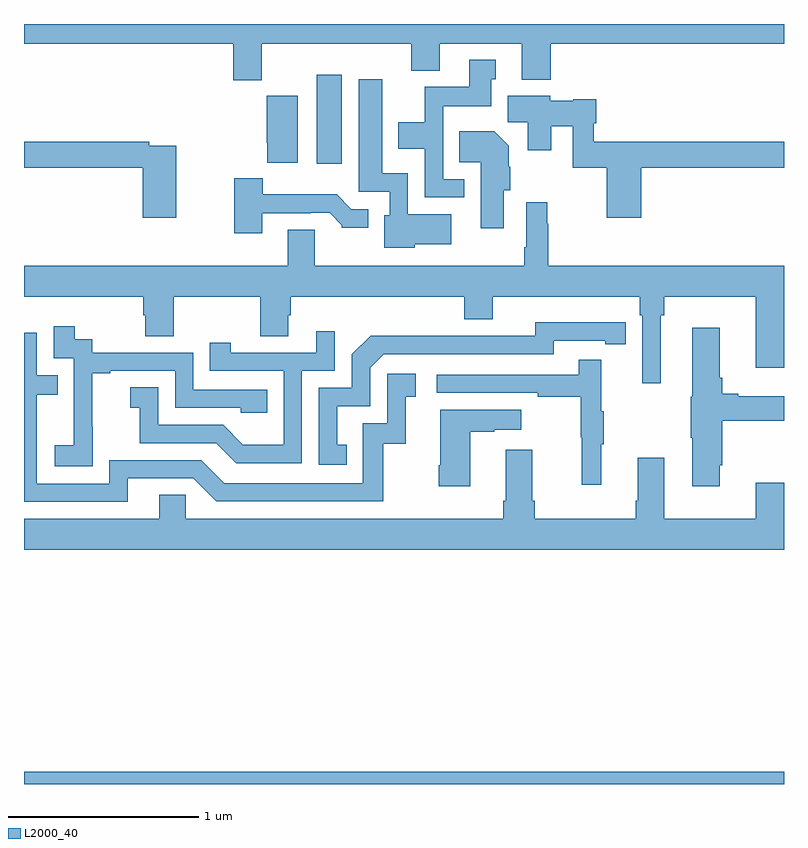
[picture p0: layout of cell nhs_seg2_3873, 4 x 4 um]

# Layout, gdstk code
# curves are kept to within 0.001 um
import gdstk
lib = gdstk.Library(unit=1e-6, precision=1e-09)
def R(c, l, rs):  # rectangles x0, y0, x1, y1
    for r in rs: c.add(gdstk.rectangle(r[:2], r[2:], *l))
def P(c, l, *ps):  # polygons
    for p in ps: c.add(gdstk.Polygon(p, *l))
L2000_40 = (2000, 40)

nhs_seg2_3873 = lib.new_cell('nhs_seg2_3873')
R(nhs_seg2_3873, L2000_40, [(317,583.8,321,583.864), (318.542,587.064,318.673,587.533)])
P(nhs_seg2_3873, L2000_40, [(318.251,587.696),(319.037,587.696),(319.037,587.555),(319.189,587.555),(319.189,587.696),(319.619,587.696),(319.619,587.507),(319.772,587.507),(319.772,587.696),(321,587.696),(321,587.8),(317,587.8),(317,587.696),(318.101,587.696),(318.101,587.504),(318.251,587.504)],
  [(319.318,586.983),(319.206,586.983),(319.206,587.366),(319.459,587.366),(319.459,587.508),(319.483,587.508),(319.483,587.611),(319.343,587.611),(319.343,587.47),(319.108,587.47),(319.108,587.284),(318.971,587.284),(318.971,587.144),(319.11,587.144),(319.11,586.887),(319.318,586.887)],
  [(319.056,586.64),(319.249,586.64),(319.249,586.798),(319.02,586.798),(319.02,587.014),(318.886,587.014),(318.886,587.509),(318.761,587.509),(318.761,586.917),(318.924,586.917),(318.924,586.794),(318.896,586.794),(318.896,586.622),(319.056,586.622)],
  [(320.249,587.044),(321,587.044),(321,587.18),(319.999,587.18),(319.999,587.277),(320.011,587.277),(320.011,587.403),(319.89,587.403),(319.89,587.395),(319.77,587.395),(319.77,587.422),(319.547,587.422),(319.547,587.284),(319.652,587.284),(319.652,587.136),(319.774,587.136),(319.774,587.261),(319.887,587.261),(319.887,587.044),(320.066,587.044),(320.066,586.779),(320.249,586.779)],
  [(318.442,587.422),(318.278,587.422),(318.278,587.176),(318.28,587.176),(318.28,587.069),(318.442,587.069)],
  [(319.525,586.926),(319.56,586.926),(319.56,587.048),(319.552,587.048),(319.552,587.158),(319.474,587.236),(319.291,587.236),(319.291,587.072),(319.403,587.072),(319.403,586.725),(319.525,586.725)],
  [(317.802,587.16),(317.66,587.16),(317.66,587.18),(317,587.18),(317,587.044),(317.624,587.044),(317.624,586.779),(317.802,586.779)],
  [(318.253,586.803),(318.509,586.803),(318.509,586.806),(318.608,586.806),(318.672,586.742),(318.672,586.727),(318.811,586.727),(318.811,586.824),(318.723,586.824),(318.645,586.903),(318.256,586.903),(318.256,586.987),(318.106,586.987),(318.106,586.698),(318.253,586.698)],
  [(317,586.364),(317.627,586.364),(317.627,586.266),(317.639,586.266),(317.639,586.156),(317.787,586.156),(317.787,586.364),(318.244,586.364),(318.244,586.156),(318.391,586.156),(318.391,586.266),(318.404,586.266),(318.404,586.364),(319.316,586.364),(319.316,586.247),(319.468,586.247),(319.468,586.364),(320.24,586.364),(320.24,586.268),(320.253,586.268),(320.253,585.909),(320.35,585.909),(320.35,586.268),(320.369,586.268),(320.369,586.364),(320.852,586.364),(320.852,585.99),(321,585.99),(321,586.528),(319.76,586.528),(319.76,586.748),(319.753,586.748),(319.753,586.861),(319.644,586.861),(319.644,586.624),(319.632,586.624),(319.632,586.528),(318.529,586.528),(318.529,586.718),(318.389,586.718),(318.389,586.528),(317,586.528)],
  [(318.698,585.585),(318.649,585.585),(318.649,585.789),(318.822,585.789),(318.822,585.99),(318.894,586.062),(319.788,586.062),(319.788,586.134),(320.06,586.134),(320.06,586.114),(320.168,586.114),(320.168,586.23),(319.692,586.231),(319.692,586.158),(319.232,586.158),(319.232,586.16),(318.824,586.16),(318.726,586.062),(318.726,585.885),(318.552,585.885),(318.552,585.48),(318.698,585.48)],
  [(317.361,585.679),(317.36,585.679),(317.36,585.963),(317.455,585.963),(317.455,585.975),(317.796,585.975),(317.796,585.78),(318.141,585.78),(318.141,585.753),(318.281,585.753),(318.281,585.876),(317.892,585.876),(317.892,586.071),(317.358,586.071),(317.358,586.14),(317.266,586.14),(317.266,586.21),(317.157,586.21),(317.157,586.041),(317.262,586.041),(317.262,585.812),(317.261,585.812),(317.261,585.583),(317.163,585.583),(317.163,585.473),(317.361,585.473)],
  [(320.662,585.478),(320.675,585.478),(320.675,585.712),(321,585.712),(321,585.841),(320.758,585.841),(320.758,585.854),(320.675,585.854),(320.675,585.937),(320.662,585.937),(320.662,586.201),(320.516,586.201),(320.516,585.837),(320.509,585.837),(320.509,585.623),(320.516,585.623),(320.516,585.366),(320.662,585.366)],
  [(318.462,585.975),(318.636,585.975),(318.636,586.183),(318.539,586.183),(318.539,586.071),(318.088,586.071),(318.088,586.123),(317.977,586.123),(317.977,585.975),(318.366,585.975),(318.366,585.586),(318.152,585.586),(318.048,585.69),(317.706,585.69),(317.706,585.889),(317.559,585.889),(317.559,585.779),(317.608,585.779),(317.608,585.594),(318.011,585.594),(318.116,585.489),(318.462,585.489)],
  [(317.545,585.408),(317.892,585.408),(318.012,585.288),(318.892,585.288),(318.892,585.591),(319.01,585.591),(319.01,585.837),(319.063,585.837),(319.063,585.958),(318.912,585.958),(318.912,585.699),(318.783,585.699),(318.783,585.384),(318.054,585.384),(317.934,585.504),(317.448,585.504),(317.448,585.381),(317.067,585.381),(317.067,585.85),(317.177,585.85),(317.177,585.951),(317.067,585.951),(317.067,586.176),(317,586.176),(317,585.285),(317.545,585.285)],
  [(320.039,585.587),(320.05,585.587),(320.05,585.761),(320.039,585.761),(320.039,586.033),(319.921,586.033),(319.921,585.954),(319.173,585.954),(319.173,585.858),(319.705,585.858),(319.705,585.838),(319.929,585.838),(319.929,585.624),(319.936,585.624),(319.936,585.375),(320.039,585.375)],
  [(319.348,585.655),(319.475,585.655),(319.475,585.665),(319.618,585.665),(319.618,585.769),(319.19,585.769),(319.19,585.478),(319.183,585.478),(319.183,585.366),(319.348,585.366)],
  [(320.231,585.517),(320.231,585.292),(320.219,585.292),(320.219,585.196),(319.688,585.196),(319.688,585.292),(319.675,585.292),(319.675,585.559),(319.535,585.559),(319.535,585.292),(319.523,585.292),(319.523,585.196),(317.85,585.196),(317.85,585.323),(317.711,585.323),(317.711,585.196),(317,585.196),(317,585.032),(321,585.032),(321,585.385),(320.852,585.385),(320.852,585.196),(320.371,585.196),(320.371,585.517)])

lib.write_gds('nhs_seg2_3873.gds')
